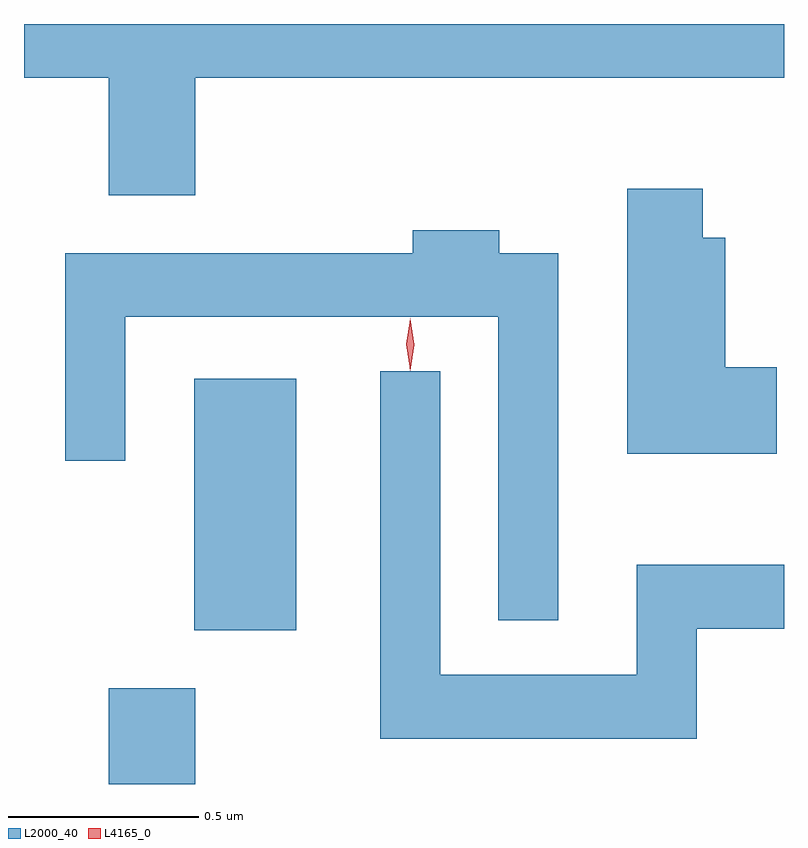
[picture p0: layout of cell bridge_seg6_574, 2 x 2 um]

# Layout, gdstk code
import gdstk
lib = gdstk.Library(unit=1e-6, precision=1e-09)
def R(c, l, rs):  # rectangles x0, y0, x1, y1
    for r in rs: c.add(gdstk.rectangle(r[:2], r[2:], *l))
def P(c, l, *ps):  # polygons
    for p in ps: c.add(gdstk.Polygon(p, *l))
L2000_40 = (2000, 40)
L4165_0 = (4165, 0)

bridge_seg6_574 = lib.new_cell('bridge_seg6_574')
R(bridge_seg6_574, L2000_40, [(500.681,1648.077,500.909,1648.329), (500.906,1648.481,501.174,1649.144)])
P(bridge_seg6_574, L2000_40, [(500.909,1649.936),(502.458,1649.936),(502.458,1650.077),(500.458,1650.077),(500.458,1649.936),(500.681,1649.936),(500.681,1649.626),(500.909,1649.626)],
  [(502.439,1649.174),(502.304,1649.174),(502.304,1649.514),(502.244,1649.514),(502.244,1649.644),(502.046,1649.644),(502.046,1648.946),(502.439,1648.946)],
  [(501.864,1649.474),(501.709,1649.474),(501.709,1649.534),(501.481,1649.534),(501.481,1649.474),(500.566,1649.474),(500.566,1648.928),(500.724,1648.928),(500.724,1649.306),(501.706,1649.306),(501.706,1648.508),(501.864,1648.508)],
  [(502.229,1648.486),(502.458,1648.486),(502.458,1648.654),(502.071,1648.654),(502.071,1648.364),(501.554,1648.364),(501.554,1649.163),(501.396,1649.163),(501.396,1648.196),(502.229,1648.196)])
P(bridge_seg6_574, L4165_0, [(501.474,1649.164),(501.465,1649.233),(501.474,1649.302),(501.475,1649.303),(501.475,1649.302),(501.485,1649.233),(501.475,1649.164),(501.475,1649.164)],
  [(501.474,1649.167),(501.474,1649.167),(501.464,1649.234),(501.474,1649.3),(501.474,1649.3),(501.475,1649.3),(501.484,1649.234),(501.475,1649.167)])

lib.write_gds('bridge_seg6_574.gds')
